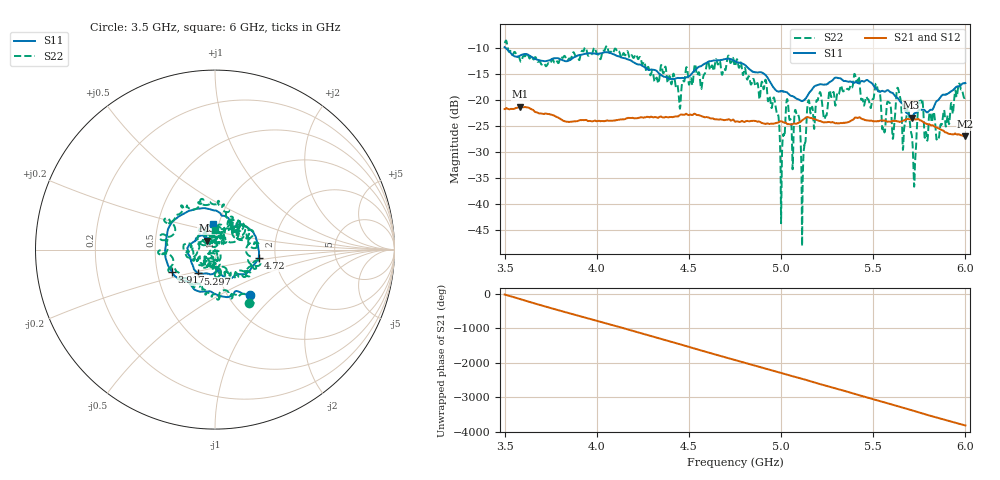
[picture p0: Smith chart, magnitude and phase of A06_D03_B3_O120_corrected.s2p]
! Created with skrf 1.9.0 (http://scikit-rf.org).
# Hz S RI R 50.0
!freq ReS11 ImS11 ReS21 ImS21 ReS12 ImS12 ReS22 ImS22
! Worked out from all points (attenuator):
!   1601 points, 3.5 GHz to 6 GHz, reference 50 ohm
!   highest |S21| = -21.32 dB at 3.586 GHz (marker M1); lowest = -27.0 dB at 5.998 GHz (marker M2)
!   lowest |S11| = -23.4 dB at 5.708 GHz (marker M3), VSWR 1.14, Z = 45.4 + j4.47 ohm
!   |S11| at or under -10 dB: 3.503 GHz to end of sweep
!   |S22| runs from -48.0 to -8.6 dB; largest |S21 - S12| = 0.00096
!   S11 on the Smith chart (normalised r, x): 3.5 GHz: 1.27, -0.71; 3.917 GHz: 0.60, -0.16; 4.72 GHz: 1.63, -0.17; 5.297 GHz: 0.80, -0.22; 6 GHz: 0.94, +0.28
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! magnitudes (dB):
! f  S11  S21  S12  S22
! 3.5 GHz  -9.9  -21.8  -21.8  -9.1
! 3.586 GHz  -11.5  -21.3  -21.3  -12.6
! 3.917 GHz  -11.4  -23.9  -23.9  -10.7
! 4.334 GHz  -14.8  -23.4  -23.3  -16.9
! 4.72 GHz  -12.1  -23.8  -23.8  -12.2
! 4.75 GHz  -12.6  -24.2  -24.1  -13.6
! 4.966 GHz  -17.9  -24.5  -24.5  -20.2
! 5.005 GHz  -18.3  -24.1  -24.1  -30.9
! 5.033 GHz  -18.6  -24.6  -24.5  -19.9
! 5.086 GHz  -19.8  -24.5  -24.5  -22.8
! 5.12 GHz  -20.2  -23.7  -23.7  -31.6
! 5.145 GHz  -19.1  -23.3  -23.3  -20.4
! 5.167 GHz  -18.1  -23.5  -23.5  -21.4
! 5.297 GHz  -15.7  -24.5  -24.4  -20.8
! 5.584 GHz  -18.3  -24.2  -24.2  -20.4
! 5.638 GHz  -19.9  -24.2  -24.1  -18.2
! 5.708 GHz  -23.4  -23.8  -23.7  -26.5
! 5.725 GHz  -22.6  -23.7  -23.7  -34.1
! 5.756 GHz  -21.9  -24.0  -23.9  -20.7
! 5.85 GHz  -20.1  -25.4  -25.3  -27.3
! 5.998 GHz  -16.8  -27.0  -26.9  -19.4
! 6 GHz  -16.8  -27.0  -26.9  -19.3
